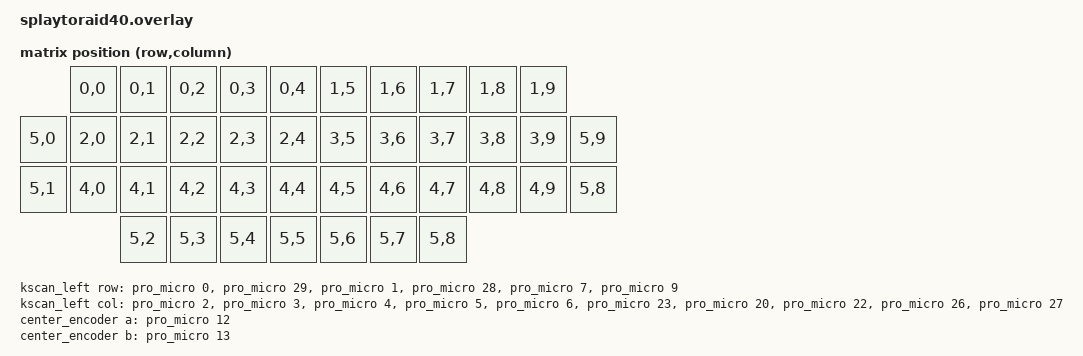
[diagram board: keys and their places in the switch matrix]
/*
 * Copyright (c) 2021 The ZMK Contributors
 *
 * SPDX-License-Identifier: MIT
 */

#include <dt-bindings/zmk/matrix_transform.h>

/ {
    chosen {
        zmk,kscan = &kscan_left;
        zmk,matrix_transform = &default_transform;
    };

    default_transform: keymap_transform_0 {
        compatible = "zmk,matrix-transform";
        columns = <10>;
        rows = <6>;

        map = <
                     RC(0,0) RC(0,1) RC(0,2) RC(0,3) RC(0,4) RC(1,5) RC(1,6) RC(1,7) RC(1,8) RC(1,9) 
             RC(5,0) RC(2,0) RC(2,1) RC(2,2) RC(2,3) RC(2,4) RC(3,5) RC(3,6) RC(3,7) RC(3,8) RC(3,9) RC(5,9)
             RC(5,1) RC(4,0) RC(4,1) RC(4,2) RC(4,3) RC(4,4) RC(4,5) RC(4,6) RC(4,7) RC(4,8) RC(4,9) RC(5,8)
                                RC(5,2) RC(5,3) RC(5,4) RC(5,5) RC(5,6) RC(5,7) RC(5,8)
        >;
    };

    kscan_left: kscan_left {
        compatible = "zmk,kscan-gpio-matrix";
        label = "KSCAN_LEFT";
        diode-direction = "col2row";

        col-gpios
            = <&pro_micro 2  GPIO_ACTIVE_HIGH>
            , <&pro_micro 3 GPIO_ACTIVE_HIGH>
            , <&pro_micro 4 GPIO_ACTIVE_HIGH>
            , <&pro_micro 5 GPIO_ACTIVE_HIGH>
            , <&pro_micro 6 GPIO_ACTIVE_HIGH>
            , <&pro_micro 23 GPIO_ACTIVE_HIGH>
            , <&pro_micro 20 GPIO_ACTIVE_HIGH>
            , <&pro_micro 22 GPIO_ACTIVE_HIGH>
            , <&pro_micro 26 GPIO_ACTIVE_HIGH>
            , <&pro_micro 27 GPIO_ACTIVE_HIGH>
            ;

        row-gpios
            = <&pro_micro 0  (GPIO_ACTIVE_HIGH | GPIO_PULL_DOWN)>
            , <&pro_micro 29  (GPIO_ACTIVE_HIGH | GPIO_PULL_DOWN)>
            , <&pro_micro 1  (GPIO_ACTIVE_HIGH | GPIO_PULL_DOWN)>
            , <&pro_micro 28 (GPIO_ACTIVE_HIGH | GPIO_PULL_DOWN)>
            , <&pro_micro 7  (GPIO_ACTIVE_HIGH | GPIO_PULL_DOWN)>
            , <&pro_micro 9  (GPIO_ACTIVE_HIGH | GPIO_PULL_DOWN)>
            ;
    };

    center_encoder: encoder_center {
		compatible = "alps,ec11";
		label = "CENTER_ENCODER";
		a-gpios = <&pro_micro 12 (GPIO_ACTIVE_HIGH | GPIO_PULL_UP)>;
		b-gpios = <&pro_micro 13 (GPIO_ACTIVE_HIGH | GPIO_PULL_UP)>;
		resolution = <4>;
		status = "okay";
	};

	sensors: sensors {
		compatible = "zmk,keymap-sensors";
		status = "okay";
        sensors = <&center_encoder>;
	};
};
